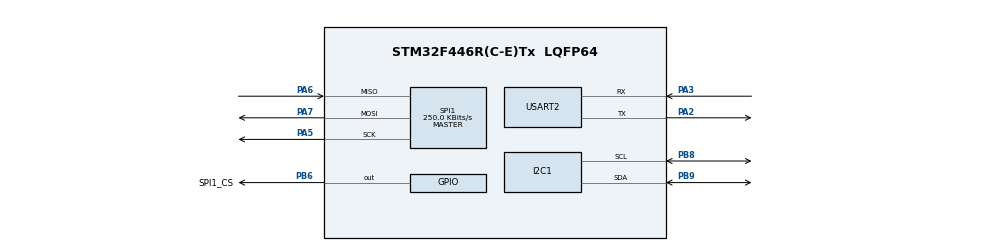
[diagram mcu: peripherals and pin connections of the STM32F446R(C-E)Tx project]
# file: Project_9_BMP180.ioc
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Mcu.Family=STM32F4
Mcu.Name=STM32F446R(C-E)Tx
Mcu.Package=LQFP64
NVIC.PriorityGroup=NVIC_PRIORITYGROUP_4
PA2.Mode=Asynchronous
PA2.Signal=USART2_TX
PA3.Mode=Asynchronous
PA3.Signal=USART2_RX
PA5.Mode=Full_Duplex_Master
PA5.Signal=SPI1_SCK
PA6.Mode=Full_Duplex_Master
PA6.Signal=SPI1_MISO
PA7.Mode=Full_Duplex_Master
PA7.Signal=SPI1_MOSI
PB6.GPIO_Label=SPI1_CS
PB6.PinState=GPIO_PIN_SET
PB6.Signal=GPIO_Output
PB8.Mode=I2C
PB8.Signal=I2C1_SCL
PB9.Mode=I2C
PB9.Signal=I2C1_SDA
ProjectManager.HeapSize=0x200
ProjectManager.StackSize=0x400
ProjectManager.TargetToolchain=STM32CubeIDE
RCC.CortexFreq_Value=16000000
RCC.USBFreq_Value=96000000
RCC.VCOOutputFreq_Value=192000000
SPI1.BaudRatePrescaler=SPI_BAUDRATEPRESCALER_64
SPI1.CalculateBaudRate=250.0 KBits/s
SPI1.Direction=SPI_DIRECTION_2LINES
SPI1.Mode=SPI_MODE_MASTER
SPI1.VirtualType=VM_MASTER
USART2.VirtualMode=VM_ASYNC
VP_FATFS_VS_Generic.Mode=User_defined
board=custom

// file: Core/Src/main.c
/* USER CODE BEGIN Header */
/**
  ******************************************************************************
  * @file           : main.c
  * @brief          : Main program body
  ******************************************************************************
  * @attention
  *
  * Copyright (c) 2026 STMicroelectronics.
  * All rights reserved.
  *
  * This software is licensed under terms that can be found in the LICENSE file
  * in the root directory of this software component.
  * If no LICENSE file comes with this software, it is provided AS-IS.
  *
  ******************************************************************************
  */
/* USER CODE END Header */
#include "main.h"
#include "fatfs.h"
#include "i2c.h"
#include "spi.h"
#include "usart.h"
#include "gpio.h"

/* USER CODE BEGIN Includes */

#include <stdio.h>
#include <string.h>
#include <math.h>
#include "bmp180_for_stm32_hal.h"
#include "fatfs.h"
#include "fatfs_sd.h"

/* USER CODE END Includes */

/* USER CODE BEGIN PV */

extern I2C_HandleTypeDef hi2c1;
extern UART_HandleTypeDef huart2;
extern SPI_HandleTypeDef hspi1;

FATFS fs;
FIL fil;
FRESULT fres;

/* USER CODE END PV */

void SystemClock_Config(void);

int main(void)
{

  /* MCU Configuration--------------------------------------------------------*/

  /* Reset of all peripherals, Initializes the Flash interface and the Systick. */
  HAL_Init();

  /* Configure the system clock */
  SystemClock_Config();

  /* Initialize all configured peripherals */
  MX_GPIO_Init();
  MX_I2C1_Init();
  MX_USART2_UART_Init();
  MX_SPI1_Init();
  MX_FATFS_Init();
  /* USER CODE BEGIN 2 */

  BMP180_Init(&hi2c1);
  BMP180_SetOversampling(BMP180_STANDARD);
  BMP180_UpdateCalibrationData();

  HAL_Delay(1000);
  fres = f_mount(&fs, "", 1);
  if (fres == FR_OK)
	  printf("SD Card mounted succesfully.\r\n");
  else
	  printf("SD Card mount failed! Error: %d\r\n", fres);

  /* USER CODE END 2 */

  /* Infinite loop */
  while (1)
  {

    /* USER CODE BEGIN 3 */
	  char log_buffer[100] = {0};

	  float temperature = BMP180_GetTemperature();
	  float pressure = (float)BMP180_GetPressure();
	  float altitude = 44330.0 * (1.0 - pow(pressure / 101325.0, 0.1903));

	  sprintf(log_buffer, "Temperature: %.1f C | Pressure: %.0f Pa | Altitude: %.1f m\r\n", temperature, pressure, altitude);
	  printf("%s", log_buffer);

	  fres = f_open(&fil, "data.txt", FA_OPEN_APPEND | FA_WRITE);
	  if(fres == FR_OK){
		   UINT bytesWrote;
		  f_write(&fil, log_buffer, strlen(log_buffer), &bytesWrote);
		  f_close(&fil);
	  }
	  else
		  printf("Failed to open data.txt for writing data. Error Code: %d\r\n", fres);

	  HAL_Delay(2000);

  }
  /* USER CODE END 3 */
}

void SystemClock_Config(void)
{
  RCC_OscInitTypeDef RCC_OscInitStruct = {0};
  RCC_ClkInitTypeDef RCC_ClkInitStruct = {0};

  /** Configure the main internal regulator output voltage
  */
  __HAL_RCC_PWR_CLK_ENABLE();
  __HAL_PWR_VOLTAGESCALING_CONFIG(PWR_REGULATOR_VOLTAGE_SCALE3);

  /** Initializes the RCC Oscillators according to the specified parameters
  * in the RCC_OscInitTypeDef structure.
  */
  RCC_OscInitStruct.OscillatorType = RCC_OSCILLATORTYPE_HSI;
  RCC_OscInitStruct.HSIState = RCC_HSI_ON;
  RCC_OscInitStruct.HSICalibrationValue = RCC_HSICALIBRATION_DEFAULT;
  RCC_OscInitStruct.PLL.PLLState = RCC_PLL_NONE;
  if (HAL_RCC_OscConfig(&RCC_OscInitStruct) != HAL_OK)
  {
    Error_Handler();
  }

  /** Initializes the CPU, AHB and APB buses clocks
  */
  RCC_ClkInitStruct.ClockType = RCC_CLOCKTYPE_HCLK|RCC_CLOCKTYPE_SYSCLK
                              |RCC_CLOCKTYPE_PCLK1|RCC_CLOCKTYPE_PCLK2;
  RCC_ClkInitStruct.SYSCLKSource = RCC_SYSCLKSOURCE_HSI;
  RCC_ClkInitStruct.AHBCLKDivider = RCC_SYSCLK_DIV1;
  RCC_ClkInitStruct.APB1CLKDivider = RCC_HCLK_DIV1;
  RCC_ClkInitStruct.APB2CLKDivider = RCC_HCLK_DIV1;

  if (HAL_RCC_ClockConfig(&RCC_ClkInitStruct, FLASH_LATENCY_0) != HAL_OK)
  {
    Error_Handler();
  }
}

/* USER CODE BEGIN 4 */

int _write(int file, char *ptr, int len){

	HAL_UART_Transmit(&huart2, (uint8_t*)ptr, len, HAL_MAX_DELAY);
	return len;

}

/* USER CODE END 4 */

void Error_Handler(void)
{
  __disable_irq();
  while (1)
  {
  }
}
